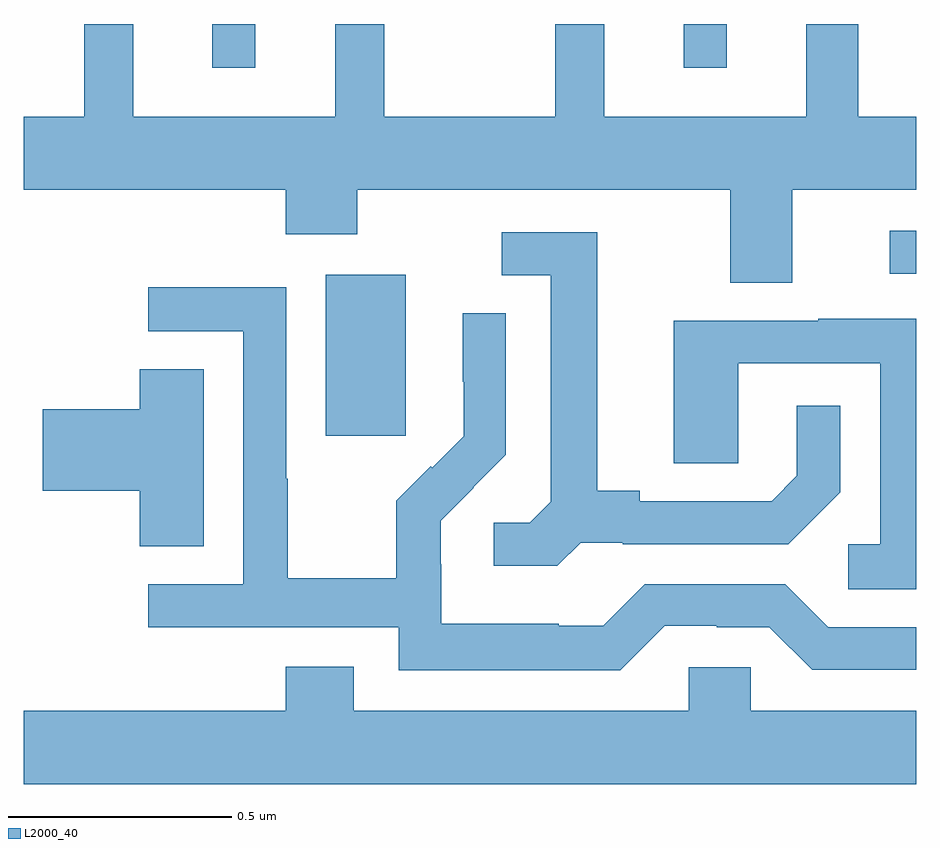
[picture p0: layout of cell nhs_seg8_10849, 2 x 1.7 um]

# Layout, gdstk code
import gdstk
lib = gdstk.Library(unit=1e-6, precision=1e-09)
def R(c, l, rs):  # rectangles x0, y0, x1, y1
    for r in rs: c.add(gdstk.rectangle(r[:2], r[2:], *l))
def P(c, l, *ps):  # polygons
    for p in ps: c.add(gdstk.Polygon(p, *l))
L2000_40 = (2000, 40)

nhs_seg8_10849 = lib.new_cell('nhs_seg8_10849')
R(nhs_seg8_10849, L2000_40, [(255.677,1087.977,255.856,1088.338), (256.941,1088.34,257,1088.436), (255.422,1088.802,255.519,1088.9), (256.479,1088.802,256.576,1088.9)])
P(nhs_seg8_10849, L2000_40, [(256.723,1088.528),(257,1088.528),(257,1088.692),(256.871,1088.692),(256.871,1088.9),(256.754,1088.9),(256.754,1088.692),(256.301,1088.692),(256.301,1088.9),(256.191,1088.9),(256.191,1088.692),(255.808,1088.692),(255.808,1088.9),(255.698,1088.9),(255.698,1088.692),(255.245,1088.692),(255.245,1088.9),(255.135,1088.9),(255.135,1088.692),(255,1088.692),(255,1088.528),(255.587,1088.528),(255.587,1088.429),(255.747,1088.429),(255.747,1088.528),(256.583,1088.528),(256.583,1088.32),(256.723,1088.32)],
  [(256.248,1087.737),(256.342,1087.737),(256.342,1087.734),(256.714,1087.734),(256.83,1087.85),(256.83,1088.044),(256.733,1088.044),(256.733,1087.887),(256.676,1087.83),(256.381,1087.83),(256.381,1087.853),(256.285,1087.853),(256.285,1088.433),(256.071,1088.433),(256.071,1088.337),(256.181,1088.337),(256.181,1087.829),(256.134,1087.782),(256.053,1087.782),(256.053,1087.685),(256.196,1087.685)],
  [(256.437,1087.551),(256.553,1087.551),(256.553,1087.548),(256.671,1087.548),(256.767,1087.452),(257,1087.452),(257,1087.548),(256.803,1087.548),(256.707,1087.644),(256.392,1087.644),(256.299,1087.551),(256.199,1087.551),(256.199,1087.555),(255.936,1087.555),(255.936,1087.689),(255.934,1087.689),(255.934,1087.786),(256.008,1087.86),(256.007,1087.861),(256.08,1087.934),(256.08,1088.252),(255.984,1088.252),(255.984,1088.098),(255.986,1088.098),(255.986,1087.976),(255.915,1087.905),(255.912,1087.908),(255.835,1087.831),(255.835,1087.657),(255.591,1087.657),(255.591,1087.88),(255.588,1087.88),(255.588,1088.31),(255.279,1088.31),(255.279,1088.211),(255.492,1088.211),(255.492,1087.644),(255.279,1087.644),(255.279,1087.548),(255.84,1087.548),(255.84,1087.451),(256.337,1087.451)],
  [(257,1088.239),(256.781,1088.239),(256.781,1088.235),(256.457,1088.235),(256.457,1087.915),(256.602,1087.915),(256.602,1088.139),(256.92,1088.139),(256.92,1087.734),(256.848,1087.734),(256.848,1087.633),(257,1087.633)],
  [(255.403,1088.126),(255.26,1088.126),(255.26,1088.036),(255.042,1088.036),(255.042,1087.853),(255.26,1087.853),(255.26,1087.729),(255.403,1087.729)],
  [(256.491,1087.458),(256.491,1087.36),(255.739,1087.36),(255.739,1087.459),(255.587,1087.459),(255.587,1087.36),(255,1087.36),(255,1087.196),(257,1087.196),(257,1087.36),(256.629,1087.36),(256.629,1087.458)])

lib.write_gds('nhs_seg8_10849.gds')
